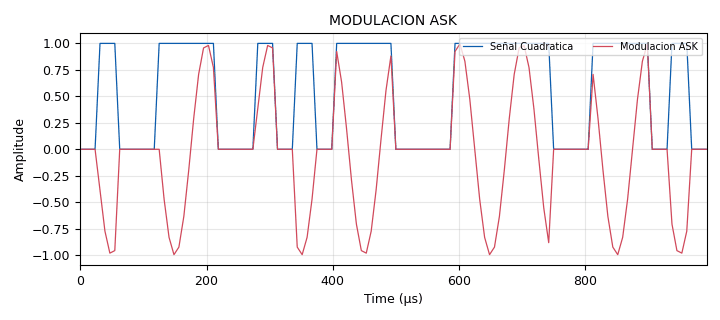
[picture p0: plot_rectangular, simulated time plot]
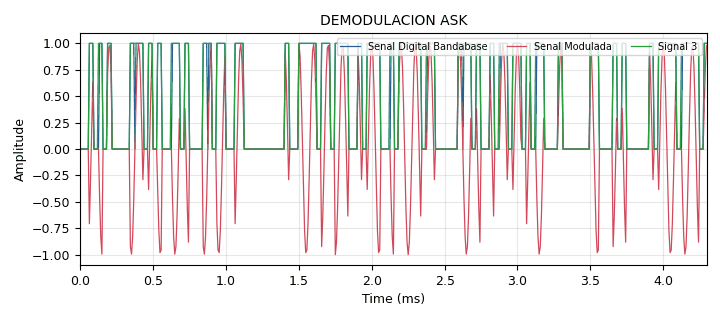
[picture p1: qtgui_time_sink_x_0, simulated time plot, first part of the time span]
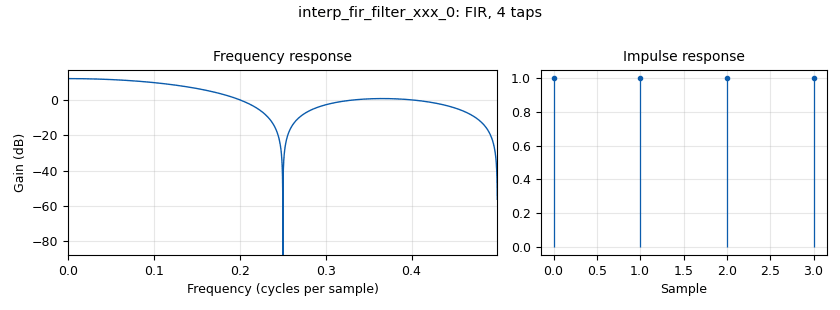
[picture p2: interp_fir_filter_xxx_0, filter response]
options:
  parameters:
    generate_options: qt_gui
    id: ASKProbando
    output_language: python
    title: Not titled yet
  states: {}

blocks:
- name: h
  id: variable
  parameters:
    value: np.array([1,1,1,1])
  states: {}
- name: rb
  id: variable
  parameters:
    value: '32000'
  states: {}
- name: samp_rate
  id: variable
  parameters:
    value: rb*sps
  states: {}
- name: sps
  id: variable
  parameters:
    value: len(h)
  states: {}
- name: analog_random_source_x_0
  id: analog_random_source_x
  parameters:
    max: '2'
    min: '0'
    num_samps: int(1e6)
    repeat: 'True'
    type: byte
  states: {}
- name: analog_sig_source_x_0
  id: analog_sig_source_x
  parameters:
    amp: '1'
    freq: 10e3
    offset: '0'
    phase: '0'
    samp_rate: samp_rate
    type: float
    waveform: analog.GR_COS_WAVE
  states: {}
- name: blocks_char_to_float_0
  id: blocks_char_to_float
  parameters:
    scale: '1'
  states: {}
- name: blocks_complex_to_float_0
  id: blocks_complex_to_float
  parameters: {}
  states: {}
- name: blocks_complex_to_mag_0
  id: blocks_complex_to_mag
  parameters: {}
  states: {}
- name: blocks_delay_0
  id: blocks_delay
  parameters:
    delay: '0'
    type: complex
  states: {}
- name: blocks_float_to_complex_0
  id: blocks_float_to_complex
  parameters: {}
  states: {}
- name: blocks_threshold_ff_0
  id: blocks_threshold_ff
  parameters:
    high: '500e-6'
    init: '0'
    low: '500e-6'
  states: {}
- name: blocks_throttle2_0
  id: blocks_throttle2
  parameters:
    samples_per_second: samp_rate
    type: float
  states: {}
- name: blocks_throttle2_1
  id: blocks_throttle2
  parameters:
    samples_per_second: samp_rate
    type: float
  states: {}
- name: blocks_throttle2_1_0
  id: blocks_throttle2
  parameters:
    samples_per_second: samp_rate
    type: complex
  states: {}
- name: import_0
  id: import
  parameters:
    imports: import numpy as np
  states: {}
- name: interp_fir_filter_xxx_0
  id: interp_fir_filter_xxx
  parameters:
    interp: sps
    taps: h
    type: fff
  states: {}
- name: multiply
  id: blocks_multiply_xx
  parameters:
    type: float
  states: {}
- name: plot_rectangular
  id: qtgui_time_sink_x
  parameters:
    autoscale: 'True'
    ctrlpanel: 'True'
    label1: Señal Cuadratica
    label2: Modulacion ASK
    name: '"MODULACION ASK"'
    nconnections: '2'
    size: 32*sps
    srate: samp_rate
    type: float
  states: {}
- name: qtgui_time_sink_x_0
  id: qtgui_time_sink_x
  parameters:
    autoscale: 'True'
    ctrlpanel: 'True'
    grid: 'True'
    label1: Senal Digital Bandabase
    label2: Senal Modulada
    name: '"DEMODULACION ASK"'
    nconnections: '3'
    size: '1024'
    srate: samp_rate
    type: float
    update_time: '0.5'
  states: {}
- name: virtual_sink_0
  id: virtual_sink
  parameters:
    stream_id: tag1
  states: {}
- name: virtual_source_0
  id: virtual_source
  parameters:
    stream_id: tag1
  states: {}

connections:
- [analog_random_source_x_0, '0', blocks_char_to_float_0, '0']
- [analog_sig_source_x_0, '0', multiply, '1']
- [blocks_char_to_float_0, '0', interp_fir_filter_xxx_0, '0']
- [blocks_complex_to_float_0, '0', blocks_throttle2_1, '0']
- [blocks_complex_to_mag_0, '0', blocks_threshold_ff_0, '0']
- [blocks_delay_0, '0', blocks_complex_to_float_0, '0']
- [blocks_float_to_complex_0, '0', blocks_throttle2_1_0, '0']
- [blocks_threshold_ff_0, '0', blocks_throttle2_0, '0']
- [blocks_throttle2_0, '0', qtgui_time_sink_x_0, '0']
- [blocks_throttle2_1, '0', qtgui_time_sink_x_0, '1']
- [blocks_throttle2_1_0, '0', virtual_sink_0, '0']
- [interp_fir_filter_xxx_0, '0', multiply, '0']
- [interp_fir_filter_xxx_0, '0', plot_rectangular, '0']
- [interp_fir_filter_xxx_0, '0', qtgui_time_sink_x_0, '2']
- [multiply, '0', blocks_float_to_complex_0, '0']
- [multiply, '0', plot_rectangular, '1']
- [virtual_source_0, '0', blocks_complex_to_mag_0, '0']
- [virtual_source_0, '0', blocks_delay_0, '0']

metadata:
  file_format: 1
  grc_version: 3.10.8.0
